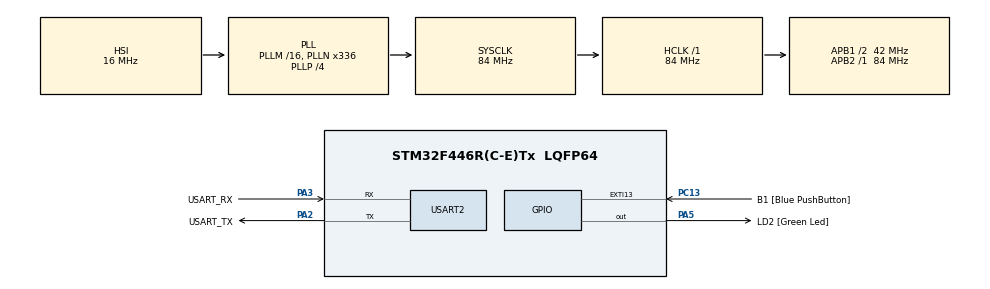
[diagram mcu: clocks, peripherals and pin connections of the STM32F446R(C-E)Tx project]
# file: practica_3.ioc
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Mcu.Family=STM32F4
Mcu.Name=STM32F446R(C-E)Tx
Mcu.Package=LQFP64
NVIC.PriorityGroup=NVIC_PRIORITYGROUP_0
PA13.GPIO_Label=TMS
PA13.Mode=Serial_Wire
PA13.Signal=SYS_JTMS-SWDIO
PA14.GPIO_Label=TCK
PA14.Mode=Serial_Wire
PA14.Signal=SYS_JTCK-SWCLK
PA2.GPIO_Label=USART_TX
PA2.Mode=Asynchronous
PA2.Signal=USART2_TX
PA3.GPIO_Label=USART_RX
PA3.Mode=Asynchronous
PA3.Signal=USART2_RX
PA5.GPIO_Label=LD2 [Green Led]
PA5.Signal=GPIO_Output
PB3.GPIO_Label=SWO
PB3.Signal=SYS_JTDO-SWO
PC13.GPIO_Label=B1 [Blue PushButton]
PC13.GPIO_ModeDefaultEXTI=GPIO_MODE_IT_FALLING
PC13.Signal=GPXTI13
PC14-OSC32_IN.Mode=LSE-External-Oscillator
PC14-OSC32_IN.Signal=RCC_OSC32_IN
PC15-OSC32_OUT.Mode=LSE-External-Oscillator
PC15-OSC32_OUT.Signal=RCC_OSC32_OUT
PH0-OSC_IN.Mode=HSE-External-Oscillator
PH0-OSC_IN.Signal=RCC_OSC_IN
PH1-OSC_OUT.Mode=HSE-External-Oscillator
PH1-OSC_OUT.Signal=RCC_OSC_OUT
ProjectManager.HeapSize=0x200
ProjectManager.StackSize=0x400
ProjectManager.TargetToolchain=STM32CubeIDE
RCC.48MHZClocksFreq_Value=84000000
RCC.AHBFreq_Value=84000000
RCC.APB1CLKDivider=RCC_HCLK_DIV2
RCC.APB1Freq_Value=42000000
RCC.APB1TimFreq_Value=84000000
RCC.APB2Freq_Value=84000000
RCC.APB2TimFreq_Value=84000000
RCC.CortexFreq_Value=84000000
RCC.FLatency-AdvancedSettings=FLASH_LATENCY_2
RCC.HCLKFreq_Value=84000000
RCC.HSE_VALUE=8000000
RCC.HSI_VALUE=16000000
RCC.PLLN=336
RCC.PLLP=RCC_PLLP_DIV4
RCC.SYSCLKFreq_VALUE=84000000
RCC.SYSCLKSource=RCC_SYSCLKSOURCE_PLLCLK
RCC.USBFreq_Value=168000000
RCC.VCOOutputFreq_Value=336000000
USART2.VirtualMode=VM_ASYNC
board=NUCLEO-F446RE

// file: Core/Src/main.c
/* USER CODE BEGIN Header */
/**
  ******************************************************************************
  * @file           : main.c
  * @brief          : Main program body
  ******************************************************************************
  * @attention
  *
  * Copyright (c) 2026 STMicroelectronics.
  * All rights reserved.
  *
  * This software is licensed under terms that can be found in the LICENSE file
  * in the root directory of this software component.
  * If no LICENSE file comes with this software, it is provided AS-IS.
  *
  ******************************************************************************
  */
/* USER CODE END Header */
#include "main.h"
/* USER CODE BEGIN Includes */
#include "API_delay.h"
/* USER CODE END Includes */

/* USER CODE BEGIN PD */

/**
 *@brief Reset value for validations or init variables.
 * */
#define MAIN_RESET_VALUE	0

/**
 * @brief Initial tick duration for the first delay.
 * */
#define INIT_TICK_DURATION	2000

/**
  * @brief Number of half-cycles to change state in LED for 50% duty cycle.
  */
#define NBR_HALF_CYCLES		10
/* USER CODE END PD */

UART_HandleTypeDef huart2;

/* USER CODE BEGIN PV */
/**
 *@brief Instance of delay_t struct for the project.
 * */
static delay_t delay_st = {MAIN_RESET_VALUE};

/**
 * @brief Array of different periods to set in blink LED code.
 * @warning The values of the array must be greater than 0. The values of the array are in milliseconds.
 *
 * */
const uint32_t period_ms[] = {500, 100, 100, 1000};

/**
 * @brief Size of period_ms array.
 * */
const uint32_t size_period_array = sizeof(period_ms)/sizeof(period_ms[0]);
/* USER CODE END PV */

void SystemClock_Config(void);
static void MX_GPIO_Init(void);
static void MX_USART2_UART_Init(void);

int main(void)
{

  /* MCU Configuration--------------------------------------------------------*/

  /* Reset of all peripherals, Initializes the Flash interface and the Systick. */
  HAL_Init();

  /* Configure the system clock */
  SystemClock_Config();

  /* Initialize all configured peripherals */
  MX_GPIO_Init();
  MX_USART2_UART_Init();
  /* USER CODE BEGIN 2 */
  uint8_t counter = MAIN_RESET_VALUE; /**< Counter for half-cycles initialization*/
  uint8_t offset_period = MAIN_RESET_VALUE; /**< Offset for period array to iterate through*/
  delayInit(&delay_st, INIT_TICK_DURATION);
  /* USER CODE END 2 */

  /* Infinite loop */
  /* USER CODE BEGIN WHILE */
  while (1)
  {
	  if(true == delayRead(&delay_st))
	  {
		  HAL_GPIO_TogglePin(LD2_GPIO_Port, LD2_Pin);
		  if(counter == NBR_HALF_CYCLES)
		  {
			  if(size_period_array == offset_period)
			  {
				  offset_period = MAIN_RESET_VALUE;
			  }
			  if(!delayIsRunning(&delay_st))
			  {
				  delayWrite(&delay_st, period_ms[offset_period]);
			  }
			  offset_period++;
			  counter=MAIN_RESET_VALUE;
		  }
		  counter++;
	  }
    /* USER CODE END WHILE */

  }
}

void SystemClock_Config(void)
{
  RCC_OscInitTypeDef RCC_OscInitStruct = {0};
  RCC_ClkInitTypeDef RCC_ClkInitStruct = {0};

  /** Configure the main internal regulator output voltage
  */
  __HAL_RCC_PWR_CLK_ENABLE();
  __HAL_PWR_VOLTAGESCALING_CONFIG(PWR_REGULATOR_VOLTAGE_SCALE3);

  /** Initializes the RCC Oscillators according to the specified parameters
  * in the RCC_OscInitTypeDef structure.
  */
  RCC_OscInitStruct.OscillatorType = RCC_OSCILLATORTYPE_HSI;
  RCC_OscInitStruct.HSIState = RCC_HSI_ON;
  RCC_OscInitStruct.HSICalibrationValue = RCC_HSICALIBRATION_DEFAULT;
  RCC_OscInitStruct.PLL.PLLState = RCC_PLL_ON;
  RCC_OscInitStruct.PLL.PLLSource = RCC_PLLSOURCE_HSI;
  RCC_OscInitStruct.PLL.PLLM = 16;
  RCC_OscInitStruct.PLL.PLLN = 336;
  RCC_OscInitStruct.PLL.PLLP = RCC_PLLP_DIV4;
  RCC_OscInitStruct.PLL.PLLQ = 2;
  RCC_OscInitStruct.PLL.PLLR = 2;
  if (HAL_RCC_OscConfig(&RCC_OscInitStruct) != HAL_OK)
  {
    Error_Handler();
  }

  /** Initializes the CPU, AHB and APB buses clocks
  */
  RCC_ClkInitStruct.ClockType = RCC_CLOCKTYPE_HCLK|RCC_CLOCKTYPE_SYSCLK
                              |RCC_CLOCKTYPE_PCLK1|RCC_CLOCKTYPE_PCLK2;
  RCC_ClkInitStruct.SYSCLKSource = RCC_SYSCLKSOURCE_PLLCLK;
  RCC_ClkInitStruct.AHBCLKDivider = RCC_SYSCLK_DIV1;
  RCC_ClkInitStruct.APB1CLKDivider = RCC_HCLK_DIV2;
  RCC_ClkInitStruct.APB2CLKDivider = RCC_HCLK_DIV1;

  if (HAL_RCC_ClockConfig(&RCC_ClkInitStruct, FLASH_LATENCY_2) != HAL_OK)
  {
    Error_Handler();
  }
}

static void MX_USART2_UART_Init(void)
{

  huart2.Instance = USART2;
  huart2.Init.BaudRate = 115200;
  huart2.Init.WordLength = UART_WORDLENGTH_8B;
  huart2.Init.StopBits = UART_STOPBITS_1;
  huart2.Init.Parity = UART_PARITY_NONE;
  huart2.Init.Mode = UART_MODE_TX_RX;
  huart2.Init.HwFlowCtl = UART_HWCONTROL_NONE;
  huart2.Init.OverSampling = UART_OVERSAMPLING_16;
  if (HAL_UART_Init(&huart2) != HAL_OK)
  {
    Error_Handler();
  }

}

static void MX_GPIO_Init(void)
{
  GPIO_InitTypeDef GPIO_InitStruct = {0};

  /* GPIO Ports Clock Enable */
  __HAL_RCC_GPIOC_CLK_ENABLE();
  __HAL_RCC_GPIOH_CLK_ENABLE();
  __HAL_RCC_GPIOA_CLK_ENABLE();
  __HAL_RCC_GPIOB_CLK_ENABLE();

  /*Configure GPIO pin Output Level */
  HAL_GPIO_WritePin(LD2_GPIO_Port, LD2_Pin, GPIO_PIN_RESET);

  /*Configure GPIO pin : B1_Pin */
  GPIO_InitStruct.Pin = B1_Pin;
  GPIO_InitStruct.Mode = GPIO_MODE_IT_FALLING;
  GPIO_InitStruct.Pull = GPIO_NOPULL;
  HAL_GPIO_Init(B1_GPIO_Port, &GPIO_InitStruct);

  /*Configure GPIO pin : LD2_Pin */
  GPIO_InitStruct.Pin = LD2_Pin;
  GPIO_InitStruct.Mode = GPIO_MODE_OUTPUT_PP;
  GPIO_InitStruct.Pull = GPIO_NOPULL;
  GPIO_InitStruct.Speed = GPIO_SPEED_FREQ_LOW;
  HAL_GPIO_Init(LD2_GPIO_Port, &GPIO_InitStruct);

}

void Error_Handler(void)
{
  __disable_irq();
  while (1)
  {
  }
}
